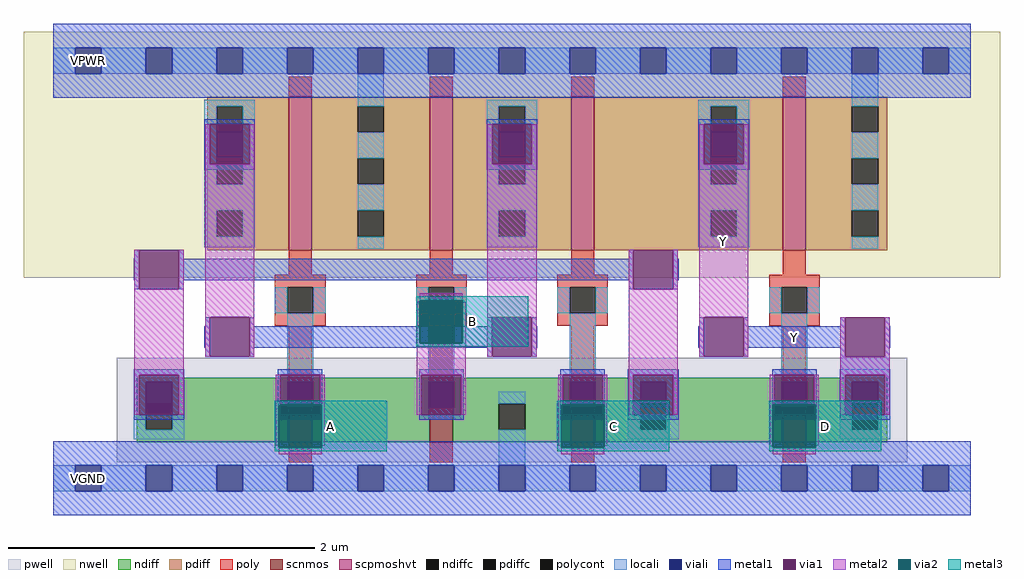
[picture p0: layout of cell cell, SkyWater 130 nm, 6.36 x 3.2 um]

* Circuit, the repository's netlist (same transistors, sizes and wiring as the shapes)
* Generated reference circuit; dimensions in micrometers.
.subckt dd2_gb2__f07ff_1 A B C D VGND VNB VPB VPWR Y
XM0 Y D _net1 VNB sky130_fd_pr__nfet_01v8 w=0.420 l=0.150
XM1 _net1 C VGND VNB sky130_fd_pr__nfet_01v8 w=0.420 l=0.150
XM2 _net1 A _net2 VNB sky130_fd_pr__nfet_01v8 w=0.420 l=0.150
XM3 _net2 B VGND VNB sky130_fd_pr__nfet_01v8 w=0.420 l=0.150
XM4 Y D VPWR VPB sky130_fd_pr__pfet_01v8_hvt w=1.000 l=0.150
XM5 Y C _net3 VPB sky130_fd_pr__pfet_01v8_hvt w=1.000 l=0.150
XM6 _net3 A VPWR VPB sky130_fd_pr__pfet_01v8_hvt w=1.000 l=0.150
XM7 _net3 B VPWR VPB sky130_fd_pr__pfet_01v8_hvt w=1.000 l=0.150
.ends dd2_gb2__f07ff_1

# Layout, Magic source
magic
tech sky130A
magscale 1 2
<< nwell >>
rect -38 261 1234 582
<< pwell >>
rect 83 21 1113 157
<< scnmos >>
rect 307 47 337 131
rect 491 47 521 131
rect 675 47 705 131
rect 951 47 981 131
<< scpmoshvt >>
rect 307 297 337 497
rect 491 297 521 497
rect 675 297 705 497
rect 951 297 981 497
<< ndiff >>
rect 109 97 307 131
rect 109 63 121 97
rect 155 63 307 97
rect 109 47 307 63
rect 337 47 491 131
rect 521 97 675 131
rect 521 63 581 97
rect 615 63 675 97
rect 521 47 675 63
rect 705 97 951 131
rect 705 63 765 97
rect 799 63 951 97
rect 705 47 951 63
rect 981 97 1087 131
rect 981 63 1041 97
rect 1075 63 1087 97
rect 981 47 1087 63
<< pdiff >>
rect 201 485 307 497
rect 201 451 213 485
rect 247 451 307 485
rect 201 417 307 451
rect 201 383 213 417
rect 247 383 307 417
rect 201 349 307 383
rect 201 315 213 349
rect 247 315 307 349
rect 201 297 307 315
rect 337 485 491 497
rect 337 451 397 485
rect 431 451 491 485
rect 337 417 491 451
rect 337 383 397 417
rect 431 383 491 417
rect 337 349 491 383
rect 337 315 397 349
rect 431 315 491 349
rect 337 297 491 315
rect 521 485 675 497
rect 521 451 581 485
rect 615 451 675 485
rect 521 417 675 451
rect 521 383 581 417
rect 615 383 675 417
rect 521 349 675 383
rect 521 315 581 349
rect 615 315 675 349
rect 521 297 675 315
rect 705 485 951 497
rect 705 451 857 485
rect 891 451 951 485
rect 705 417 951 451
rect 705 383 857 417
rect 891 383 951 417
rect 705 349 951 383
rect 705 315 857 349
rect 891 315 951 349
rect 705 297 951 315
rect 981 485 1087 497
rect 981 451 1041 485
rect 1075 451 1087 485
rect 981 417 1087 451
rect 981 383 1041 417
rect 1075 383 1087 417
rect 981 349 1087 383
rect 981 315 1041 349
rect 1075 315 1087 349
rect 981 297 1087 315
<< ndiffc >>
rect 121 63 155 97
rect 581 63 615 97
rect 765 63 799 97
rect 1041 63 1075 97
<< pdiffc >>
rect 213 451 247 485
rect 213 383 247 417
rect 213 315 247 349
rect 397 451 431 485
rect 397 383 431 417
rect 397 315 431 349
rect 581 451 615 485
rect 581 383 615 417
rect 581 315 615 349
rect 857 451 891 485
rect 857 383 891 417
rect 857 315 891 349
rect 1041 451 1075 485
rect 1041 383 1075 417
rect 1041 315 1075 349
<< poly >>
rect 307 497 337 523
rect 491 497 521 523
rect 675 497 705 523
rect 951 497 981 523
rect 307 265 337 297
rect 491 265 521 297
rect 675 265 705 297
rect 951 265 981 297
rect 289 249 355 265
rect 289 215 305 249
rect 339 215 355 249
rect 289 199 355 215
rect 473 249 539 265
rect 473 215 489 249
rect 523 215 539 249
rect 473 199 539 215
rect 657 249 723 265
rect 657 215 673 249
rect 707 215 723 249
rect 657 199 723 215
rect 933 249 999 265
rect 933 215 949 249
rect 983 215 999 249
rect 933 199 999 215
rect 307 131 337 199
rect 491 131 521 199
rect 675 131 705 199
rect 951 131 981 199
rect 307 21 337 47
rect 491 21 521 47
rect 675 21 705 47
rect 951 21 981 47
<< polycont >>
rect 305 215 339 249
rect 489 215 523 249
rect 673 215 707 249
rect 949 215 983 249
<< locali >>
rect 0 527 29 561
rect 63 527 121 561
rect 155 527 213 561
rect 247 527 305 561
rect 339 527 397 561
rect 431 527 489 561
rect 523 527 581 561
rect 615 527 673 561
rect 707 527 765 561
rect 799 527 857 561
rect 891 527 949 561
rect 983 527 1041 561
rect 1075 527 1133 561
rect 1167 527 1196 561
rect 197 485 263 493
rect 197 418 213 485
rect 247 418 263 485
rect 197 417 263 418
rect 197 383 213 417
rect 247 383 263 417
rect 197 349 263 383
rect 197 315 213 349
rect 247 315 263 349
rect 197 301 263 315
rect 397 485 431 527
rect 397 417 431 451
rect 397 349 431 383
rect 397 299 431 315
rect 565 485 631 493
rect 565 418 581 485
rect 615 418 631 485
rect 565 417 631 418
rect 565 383 581 417
rect 615 383 631 417
rect 565 349 631 383
rect 565 315 581 349
rect 615 315 631 349
rect 565 301 631 315
rect 841 485 907 493
rect 841 418 857 485
rect 891 418 907 485
rect 841 417 907 418
rect 841 383 857 417
rect 891 383 907 417
rect 841 349 907 383
rect 841 315 857 349
rect 891 315 907 349
rect 841 301 907 315
rect 1041 485 1075 527
rect 1041 417 1075 451
rect 1041 349 1075 383
rect 1041 299 1075 315
rect 289 215 305 249
rect 339 215 355 249
rect 473 215 489 249
rect 523 215 539 249
rect 657 215 673 249
rect 707 215 723 249
rect 933 215 949 249
rect 983 215 999 249
rect 105 126 171 142
rect 105 63 121 126
rect 155 63 171 126
rect 305 126 339 215
rect 305 76 339 92
rect 489 126 523 215
rect 673 126 707 215
rect 489 76 523 92
rect 581 97 615 113
rect 105 51 171 63
rect 673 76 707 92
rect 749 126 815 142
rect 581 17 615 63
rect 749 63 765 126
rect 799 63 815 126
rect 949 126 983 215
rect 949 76 983 92
rect 1025 126 1091 142
rect 749 51 815 63
rect 1025 63 1041 126
rect 1075 63 1091 126
rect 1025 51 1091 63
rect 0 -17 29 17
rect 63 -17 121 17
rect 155 -17 213 17
rect 247 -17 305 17
rect 339 -17 397 17
rect 431 -17 489 17
rect 523 -17 581 17
rect 615 -17 673 17
rect 707 -17 765 17
rect 799 -17 857 17
rect 891 -17 949 17
rect 983 -17 1041 17
rect 1075 -17 1133 17
rect 1167 -17 1196 17
<< viali >>
rect 29 527 63 561
rect 121 527 155 561
rect 213 527 247 561
rect 305 527 339 561
rect 397 527 431 561
rect 489 527 523 561
rect 581 527 615 561
rect 673 527 707 561
rect 765 527 799 561
rect 857 527 891 561
rect 949 527 983 561
rect 1041 527 1075 561
rect 1133 527 1167 561
rect 213 451 247 452
rect 213 418 247 451
rect 581 451 615 452
rect 581 418 615 451
rect 857 451 891 452
rect 857 418 891 451
rect 121 97 155 126
rect 121 92 155 97
rect 305 92 339 126
rect 489 92 523 126
rect 673 92 707 126
rect 765 97 799 126
rect 765 92 799 97
rect 949 92 983 126
rect 1041 97 1075 126
rect 1041 92 1075 97
rect 29 -17 63 17
rect 121 -17 155 17
rect 213 -17 247 17
rect 305 -17 339 17
rect 397 -17 431 17
rect 489 -17 523 17
rect 581 -17 615 17
rect 673 -17 707 17
rect 765 -17 799 17
rect 857 -17 891 17
rect 949 -17 983 17
rect 1041 -17 1075 17
rect 1133 -17 1167 17
<< metal1 >>
rect 0 561 1196 592
rect 0 527 29 561
rect 63 527 121 561
rect 155 527 213 561
rect 247 527 305 561
rect 339 527 397 561
rect 431 527 489 561
rect 523 527 581 561
rect 615 527 673 561
rect 707 527 765 561
rect 799 527 857 561
rect 891 527 949 561
rect 983 527 1041 561
rect 1075 527 1133 561
rect 1167 527 1196 561
rect 0 496 1196 527
rect 197 461 263 468
rect 197 409 204 461
rect 256 409 263 461
rect 197 402 263 409
rect 565 461 631 468
rect 565 409 572 461
rect 624 409 631 461
rect 565 402 631 409
rect 841 461 907 468
rect 841 409 848 461
rect 900 409 907 461
rect 841 402 907 409
rect 106 286 112 298
rect 105 258 112 286
rect 106 246 112 258
rect 164 286 170 298
rect 750 286 756 298
rect 164 258 756 286
rect 164 246 170 258
rect 750 246 756 258
rect 808 286 814 298
rect 808 258 815 286
rect 808 246 814 258
rect 198 198 204 210
rect 197 170 204 198
rect 198 158 204 170
rect 256 198 262 210
rect 566 198 572 210
rect 256 170 572 198
rect 256 158 262 170
rect 566 158 572 170
rect 624 198 630 210
rect 842 198 848 210
rect 624 170 631 198
rect 841 170 848 198
rect 624 158 630 170
rect 842 158 848 170
rect 900 198 906 210
rect 1026 198 1032 210
rect 900 170 1032 198
rect 900 158 906 170
rect 1026 158 1032 170
rect 1084 198 1090 210
rect 1084 170 1091 198
rect 1084 158 1090 170
rect 1026 142 1090 158
rect 105 135 171 142
rect 105 83 112 135
rect 164 83 171 135
rect 105 76 171 83
rect 293 135 351 142
rect 293 83 296 135
rect 348 83 351 135
rect 293 76 351 83
rect 477 135 535 142
rect 477 83 480 135
rect 532 83 535 135
rect 477 76 535 83
rect 661 135 719 142
rect 661 83 664 135
rect 716 83 719 135
rect 661 76 719 83
rect 749 135 815 142
rect 749 83 756 135
rect 808 83 815 135
rect 749 76 815 83
rect 937 135 995 142
rect 937 83 940 135
rect 992 83 995 135
rect 937 76 995 83
rect 1025 135 1091 142
rect 1025 83 1032 135
rect 1084 83 1091 135
rect 1025 76 1091 83
rect 0 17 1196 48
rect 0 -17 29 17
rect 63 -17 121 17
rect 155 -17 213 17
rect 247 -17 305 17
rect 339 -17 397 17
rect 431 -17 489 17
rect 523 -17 581 17
rect 615 -17 673 17
rect 707 -17 765 17
rect 799 -17 857 17
rect 891 -17 949 17
rect 983 -17 1041 17
rect 1075 -17 1133 17
rect 1167 -17 1196 17
rect 0 -48 1196 -17
<< via1 >>
rect 204 452 256 461
rect 204 418 213 452
rect 213 418 247 452
rect 247 418 256 452
rect 204 409 256 418
rect 572 452 624 461
rect 572 418 581 452
rect 581 418 615 452
rect 615 418 624 452
rect 572 409 624 418
rect 848 452 900 461
rect 848 418 857 452
rect 857 418 891 452
rect 891 418 900 452
rect 848 409 900 418
rect 112 246 164 298
rect 756 246 808 298
rect 204 158 256 210
rect 572 158 624 210
rect 848 158 900 210
rect 1032 158 1084 210
rect 112 126 164 135
rect 112 92 121 126
rect 121 92 155 126
rect 155 92 164 126
rect 112 83 164 92
rect 296 126 348 135
rect 296 92 305 126
rect 305 92 339 126
rect 339 92 348 126
rect 296 83 348 92
rect 480 126 532 135
rect 480 92 489 126
rect 489 92 523 126
rect 523 92 532 126
rect 480 83 532 92
rect 664 126 716 135
rect 664 92 673 126
rect 673 92 707 126
rect 707 92 716 126
rect 664 83 716 92
rect 756 126 808 135
rect 756 92 765 126
rect 765 92 799 126
rect 799 92 808 126
rect 756 83 808 92
rect 940 126 992 135
rect 940 92 949 126
rect 949 92 983 126
rect 983 92 992 126
rect 940 83 992 92
rect 1032 126 1084 135
rect 1032 92 1041 126
rect 1041 92 1075 126
rect 1075 92 1084 126
rect 1032 83 1084 92
<< metal2 >>
rect 198 409 204 461
rect 256 409 262 461
rect 106 246 112 298
rect 164 246 170 298
rect 106 135 170 246
rect 198 210 262 409
rect 566 409 572 461
rect 624 409 630 461
rect 478 232 534 241
rect 198 158 204 210
rect 256 158 262 210
rect 474 176 478 230
rect 534 176 538 230
rect 474 135 538 176
rect 566 210 630 409
rect 842 409 848 461
rect 900 409 906 461
rect 566 158 572 210
rect 624 158 630 210
rect 750 246 756 298
rect 808 246 814 298
rect 750 135 814 246
rect 842 210 906 409
rect 842 158 848 210
rect 900 158 906 210
rect 1026 158 1032 210
rect 1084 158 1090 210
rect 1026 135 1090 158
rect 106 83 112 135
rect 164 83 170 135
rect 290 96 296 135
rect 348 96 354 135
rect 290 42 294 96
rect 350 42 354 96
rect 474 83 480 135
rect 532 83 538 135
rect 658 96 664 135
rect 716 96 722 135
rect 658 42 662 96
rect 294 31 350 40
rect 718 42 722 96
rect 750 83 756 135
rect 808 83 814 135
rect 934 96 940 135
rect 992 96 998 135
rect 934 42 938 96
rect 662 31 718 40
rect 994 42 998 96
rect 1026 83 1032 135
rect 1084 83 1090 135
rect 938 31 994 40
<< via2 >>
rect 478 176 534 232
rect 294 83 296 96
rect 296 83 348 96
rect 348 83 350 96
rect 294 40 350 83
rect 662 83 664 96
rect 664 83 716 96
rect 716 83 718 96
rect 662 40 718 83
rect 938 83 940 96
rect 940 83 992 96
rect 992 83 994 96
rect 938 40 994 83
<< metal3 >>
rect 473 232 619 237
rect 473 176 478 232
rect 534 176 619 232
rect 473 171 619 176
rect 289 96 435 101
rect 289 40 294 96
rect 350 40 435 96
rect 289 35 435 40
rect 657 96 803 101
rect 657 40 662 96
rect 718 40 803 96
rect 657 35 803 40
rect 933 96 1079 101
rect 933 40 938 96
rect 994 40 1079 96
rect 933 35 1079 40
<< labels >>
rlabel metal1 s 46 0 46 0 4 VGND
port 5 se
rlabel metal1 s 46 544 46 544 4 VPWR
port 8 se
rlabel metal1 s 966 184 966 184 4 Y
rlabel metal2 s 874 309 874 309 4 Y
port 9 se
rlabel nwell s 46 544 46 544 4 VPB
port 7 se
rlabel pwell s 46 0 46 0 4 VNB
port 6 se
rlabel metal3 s 362 68 362 68 4 A
port 1 se
rlabel metal3 s 546 204 546 204 4 B
port 2 se
rlabel metal3 s 730 68 730 68 4 C
port 3 se
rlabel metal3 s 1006 68 1006 68 4 D
port 4 se
<< properties >>
string FIXED_BBOX 0 0 2392 1088
<< end >>
